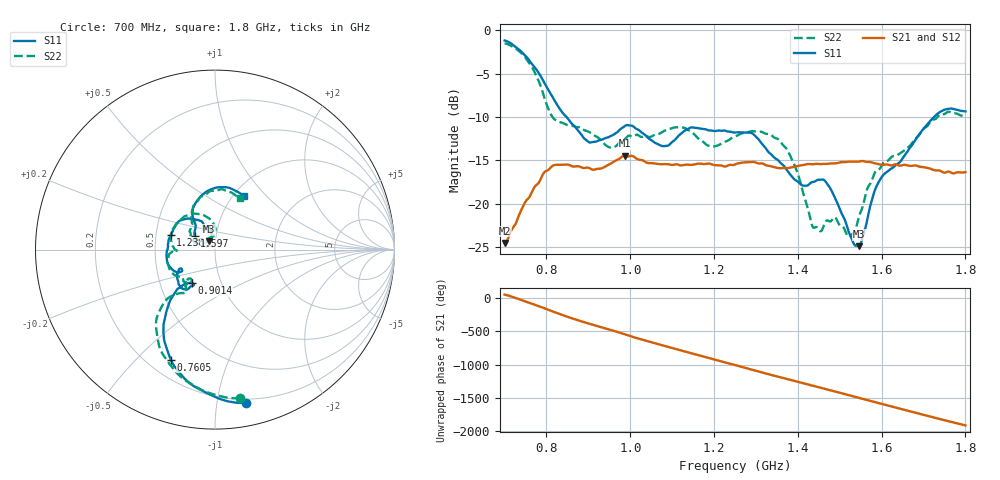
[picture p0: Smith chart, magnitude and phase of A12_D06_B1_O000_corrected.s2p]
! Created with skrf 1.9.0 (http://scikit-rf.org).
# Hz S RI R 50.0
!freq ReS11 ImS11 ReS21 ImS21 ReS12 ImS12 ReS22 ImS22
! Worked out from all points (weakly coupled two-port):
!   1601 points, 700 MHz to 1.8 GHz, reference 50 ohm
!   highest |S21| = -14.48 dB at 986.7 MHz (marker M1); lowest = -24.6 dB at 700 MHz (marker M2)
!   lowest |S11| = -24.9 dB at 1.546 GHz (marker M3), VSWR 1.12, Z = 46.6 + j4.28 ohm
!   |S11| at or under -10 dB: 847.5 MHz to 1.725 GHz (877.8 MHz wide, 68.2 % of centre)
!   |S22| runs from -23.8 to -1.5 dB; largest |S21 - S12| = 0.0034
!   S11 on the Smith chart (normalised r, x): 700 MHz: 0.17, -1.21; 760.5 MHz: 0.29, -0.64; 901.4 MHz: 0.73, -0.28; 1.238 GHz: 0.60, +0.10; 1.597 GHz: 0.79, +0.13; 1.8 GHz: 1.12, +0.76
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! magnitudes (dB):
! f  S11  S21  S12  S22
! 700 MHz  -1.2  -24.6  -24.3  -1.5
! 760.5 MHz  -3.6  -19.1  -19.0  -3.9
! 816.2 MHz  -7.9  -15.6  -15.7  -10.1
! 883.6 MHz  -12.1  -15.8  -15.7  -11.3
! 901.4 MHz  -12.9  -15.9  -15.9  -11.7
! 951.6 MHz  -12.3  -15.4  -15.4  -13.5
! 986.7 MHz  -11.1  -14.5  -14.6  -12.6
! 1.067 GHz  -13.2  -15.4  -15.4  -12.0
! 1.145 GHz  -11.2  -15.5  -15.5  -11.7
! 1.192 GHz  -11.6  -15.4  -15.4  -13.4
! 1.238 GHz  -11.7  -15.5  -15.6  -12.6
! 1.25 GHz  -11.8  -15.5  -15.4  -12.2
! 1.357 GHz  -15.2  -15.9  -15.9  -12.8
! 1.395 GHz  -17.3  -15.7  -15.7  -15.9
! 1.434 GHz  -17.5  -15.5  -15.4  -22.5
! 1.469 GHz  -17.7  -15.4  -15.4  -21.9
! 1.523 GHz  -23.4  -15.1  -15.2  -23.8
! 1.546 GHz  -24.9  -15.2  -15.1  -21.4
! 1.597 GHz  -17.2  -15.5  -15.5  -15.9
! 1.617 GHz  -16.2  -15.5  -15.5  -15.0
! 1.734 GHz  -9.6  -16.2  -16.2  -10.0
! 1.8 GHz  -9.4  -16.4  -16.4  -10.0
